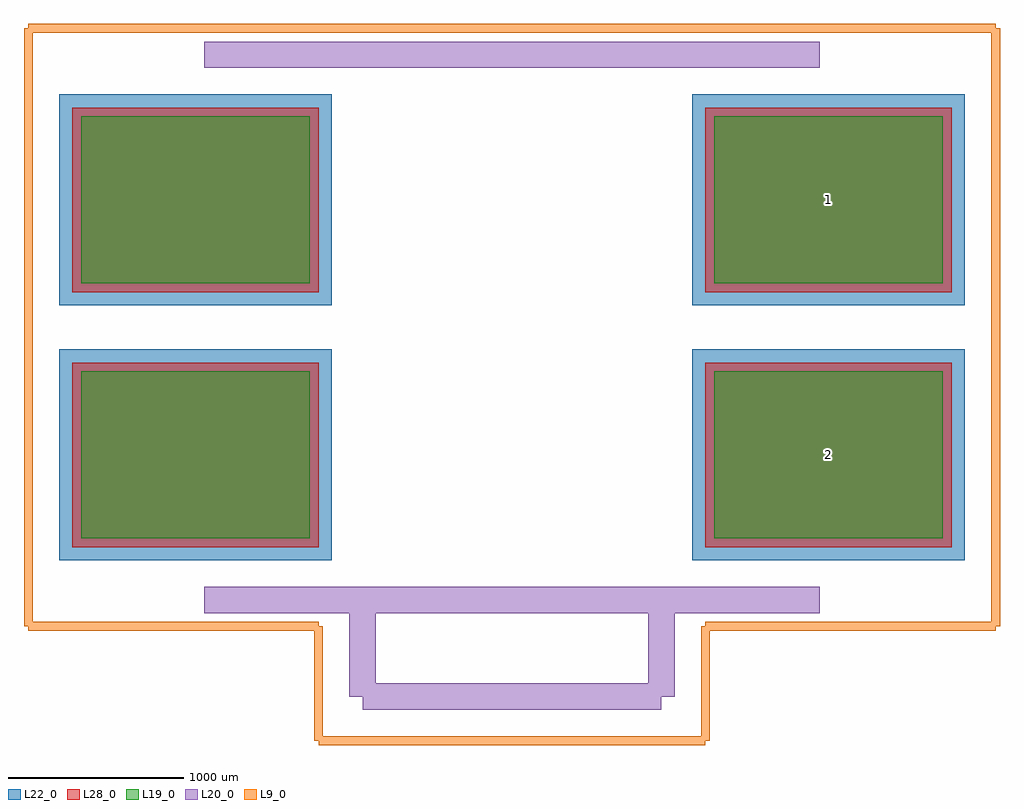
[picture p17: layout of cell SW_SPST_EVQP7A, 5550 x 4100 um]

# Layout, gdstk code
import gdstk
lib = gdstk.Library(unit=1e-6, precision=1e-09)
def R(c, l, rs):  # rectangles x0, y0, x1, y1
    for r in rs: c.add(gdstk.rectangle(r[:2], r[2:], *l))
L9_0 = (9, 0)
L19_0 = (19, 0)
L20_0 = (20, 0)
L22_0 = (22, 0)
L28_0 = (28, 0)

sw_spst_evqp7a = lib.new_cell('SW_SPST_EVQP7A')
R(sw_spst_evqp7a, L19_0, [(-2450,-1200,-1150,-250), (1150,-1200,2450,-250), (-2450,250,-1150,1200), (1150,250,2450,1200)])
R(sw_spst_evqp7a, L22_0, [(-2575,-1325,-1025,-125), (1025,-1325,2575,-125), (-2575,125,-1025,1325), (1025,125,2575,1325)])
R(sw_spst_evqp7a, L28_0, [(-2500,-1250,-1100,-200), (1100,-1250,2500,-200), (-2500,200,-1100,1250), (1100,200,2500,1250)])
sw_spst_evqp7a.add(gdstk.FlexPath([(-2750,-1700),(-2750,1700)], 50, ends="flush", simple_path=True, layer=9, datatype=0))  # L9_0
sw_spst_evqp7a.add(gdstk.FlexPath([(1100,-2350),(-1100,-2350)], 50, ends="flush", simple_path=True, layer=9, datatype=0))  # L9_0
sw_spst_evqp7a.add(gdstk.FlexPath([(2750,1700),(2750,-1700)], 50, ends="flush", simple_path=True, layer=9, datatype=0))  # L9_0
sw_spst_evqp7a.add(gdstk.FlexPath([(-2750,1700),(2750,1700)], 50, ends="flush", simple_path=True, layer=9, datatype=0))  # L9_0
sw_spst_evqp7a.add(gdstk.FlexPath([(1750,-1550),(-1750,-1550)], 149.998, ends="flush", simple_path=True, layer=20, datatype=0))  # L20_0
sw_spst_evqp7a.add(gdstk.FlexPath([(-1750,1550),(1750,1550)], 149.998, ends="flush", simple_path=True, layer=20, datatype=0))  # L20_0
sw_spst_evqp7a.add(gdstk.FlexPath([(-850,-2100),(-850,-1550)], 149.998, ends="flush", simple_path=True, layer=20, datatype=0))  # L20_0
sw_spst_evqp7a.add(gdstk.FlexPath([(850,-2100),(-850,-2100)], 149.998, ends="flush", simple_path=True, layer=20, datatype=0))  # L20_0
sw_spst_evqp7a.add(gdstk.FlexPath([(850,-1550),(850,-2100)], 149.998, ends="flush", simple_path=True, layer=20, datatype=0))  # L20_0
sw_spst_evqp7a.add(gdstk.FlexPath([(1100,-1700),(1100,-2350)], 50, ends="flush", simple_path=True, layer=9, datatype=0))  # L9_0
sw_spst_evqp7a.add(gdstk.FlexPath([(2750,-1700),(1100,-1700)], 50, ends="flush", simple_path=True, layer=9, datatype=0))  # L9_0
sw_spst_evqp7a.add(gdstk.FlexPath([(-1100,-1700),(-2750,-1700)], 50, ends="flush", simple_path=True, layer=9, datatype=0))  # L9_0
sw_spst_evqp7a.add(gdstk.FlexPath([(-1100,-2350),(-1100,-1700)], 50, ends="flush", simple_path=True, layer=9, datatype=0))  # L9_0
sw_spst_evqp7a.add(gdstk.Label('2', (1800,-725), layer=28, texttype=0))
sw_spst_evqp7a.add(gdstk.Label('1', (1800,725), layer=28, texttype=0))
sw_spst_evqp7a.add(gdstk.Label('type', (0,-3250), layer=9, texttype=0))
sw_spst_evqp7a.add(gdstk.Label('devicename', (0,2500), layer=9, texttype=0))

lib.write_gds('SW_SPST_EVQP7A.gds')
